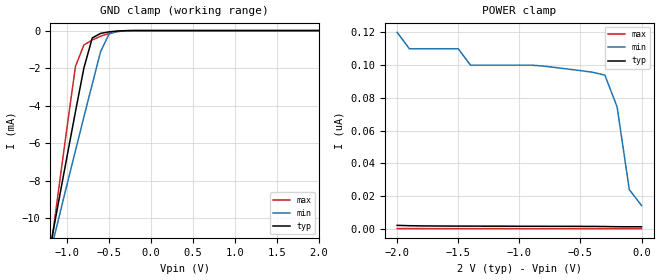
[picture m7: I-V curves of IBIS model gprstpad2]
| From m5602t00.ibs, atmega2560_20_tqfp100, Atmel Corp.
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|   Model gprstpad2
[Model]   gprstpad2
Model_type   Input
Polarity   Non-Inverting
Vinl =   0.60V
Vinh =   1.40V
C_comp   1.14pF   0.79pF   1.19pF
[Temperature Range]   27.00   0.12k   -55.00
[Voltage Range]   2.00V   1.80V   2.20V
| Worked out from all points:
|   GND clamp passes 1 mA (typ) near -0.74 V on its own axis
[GND_clamp]
| voltage   I(typ)   I(min)   I(max)
-2V       -31.76mA   -26.99mA   -40.4mA
-1.2V     -11.53mA   -11.86mA   -11.86mA
-1.1V     -9.1mA     -10.02mA   -8.46mA
-1V       -6.7mA     -8.2mA     -5.14mA
-900mV    -4.32mA    -6.4mA     -1.91mA
-800mV    -2mA       -4.61mA    -770uA
-700mV    -390uA     -2.85mA    -500uA
-600mV    -150uA     -1.11mA    -300uA
-500mV    -67.56uA   -180uA     -150uA
-400mV    -22.8uA    -32.08uA   -55.94uA
-200mV    -460nA     -810nA     -580nA
2V        1.32nA     74.51nA    170pA
[POWER_clamp]
| voltage   I(typ)   I(min)   I(max)
-2V       2.2nA      120nA      240pA
-1.9V     1.98nA     110nA      230pA
-1.5V     1.75nA     110nA      220pA
-1.4V     1.73nA     100nA      220pA
-900mV    1.64nA     100nA      200pA
-400mV    1.56nA     95.67nA    190pA
-300mV    1.49nA     93.89nA    190pA
-200mV    1.36nA     74.51nA    180pA
-100mV    1.34nA     23.99nA    180pA
0V        1.32nA     14.31nA    180pA
